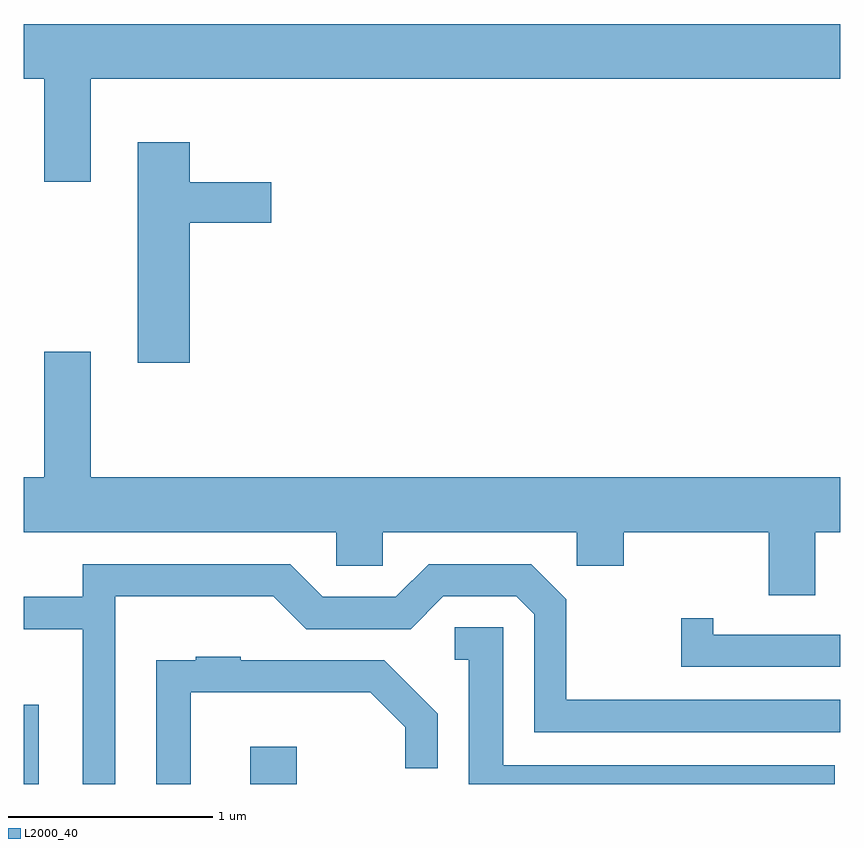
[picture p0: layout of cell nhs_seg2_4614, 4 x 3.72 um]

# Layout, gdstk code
import gdstk
lib = gdstk.Library(unit=1e-6, precision=1e-09)
def R(c, l, rs):  # rectangles x0, y0, x1, y1
    for r in rs: c.add(gdstk.rectangle(r[:2], r[2:], *l))
def P(c, l, *ps):  # polygons
    for p in ps: c.add(gdstk.Polygon(p, *l))
L2000_40 = (2000, 40)

nhs_seg2_4614 = lib.new_cell('nhs_seg2_4614')
R(nhs_seg2_4614, L2000_40, [(321.611,993.802,321.684,994.189), (322.721,993.802,322.949,993.984)])
P(nhs_seg2_4614, L2000_40, [(321.939,997.256),(325.611,997.256),(325.611,997.524),(321.611,997.524),(321.611,997.256),(321.711,997.256),(321.711,996.751),(321.939,996.751)],
  [(322.424,996.551),(322.824,996.551),(322.824,996.749),(322.424,996.749),(322.424,996.944),(322.171,996.944),(322.171,995.866),(322.424,995.866)],
  [(325.489,995.036),(325.611,995.036),(325.611,995.304),(321.939,995.304),(321.939,995.919),(321.711,995.919),(321.711,995.304),(321.611,995.304),(321.611,995.036),(323.141,995.036),(323.141,994.871),(323.369,994.871),(323.369,995.036),(324.321,995.036),(324.321,994.871),(324.549,994.871),(324.549,995.036),(325.261,995.036),(325.261,994.726),(325.489,994.726)],
  [(322.059,994.721),(322.834,994.721),(322.994,994.561),(323.507,994.561),(323.667,994.721),(324.024,994.721),(324.111,994.634),(324.111,994.056),(325.611,994.056),(325.611,994.214),(324.269,994.214),(324.269,994.707),(324.097,994.879),(323.594,994.879),(323.434,994.719),(323.077,994.719),(322.917,994.879),(321.901,994.879),(321.901,994.719),(321.611,994.719),(321.611,994.561),(321.901,994.561),(321.901,993.802),(322.059,993.802)],
  [(325.611,994.534),(324.989,994.534),(324.989,994.613),(324.831,994.613),(324.831,994.376),(325.611,994.376)],
  [(325.583,993.894),(323.959,993.894),(323.959,994.569),(323.723,994.569),(323.723,994.411),(323.791,994.411),(323.791,993.802),(325.583,993.802)],
  [(322.429,994.251),(323.309,994.251),(323.481,994.079),(323.481,993.878),(323.639,993.878),(323.639,994.147),(323.377,994.409),(322.675,994.409),(322.675,994.424),(322.455,994.424),(322.455,994.409),(322.261,994.409),(322.261,993.802),(322.429,993.802)])

lib.write_gds('nhs_seg2_4614.gds')
